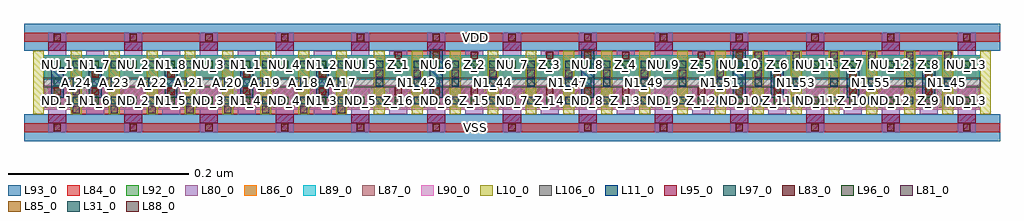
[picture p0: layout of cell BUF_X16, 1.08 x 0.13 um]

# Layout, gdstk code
import gdstk
lib = gdstk.Library(unit=1e-6, precision=1e-09)
def R(c, l, rs):  # rectangles x0, y0, x1, y1
    for r in rs: c.add(gdstk.rectangle(r[:2], r[2:], *l))
def A(c, l, x, y, w, h, nx, ny, dx, dy):  # array of equal rectangles
    R(c, l, [(x+i*dx, y+j*dy, x+i*dx+w, y+j*dy+h) for i in range(nx) for j in range(ny)])
L10_0 = (10, 0)
L11_0 = (11, 0)
L31_0 = (31, 0)
L80_0 = (80, 0)
L81_0 = (81, 0)
L83_0 = (83, 0)
L84_0 = (84, 0)
L85_0 = (85, 0)
L86_0 = (86, 0)
L87_0 = (87, 0)
L88_0 = (88, 0)
L89_0 = (89, 0)
L90_0 = (90, 0)
L92_0 = (92, 0)
L93_0 = (93, 0)
L95_0 = (95, 0)
L96_0 = (96, 0)
L97_0 = (97, 0)
L106_0 = (106, 0)

buf_x16 = lib.new_cell('BUF_X16')
A(buf_x16, L10_0, -0.027, 0.015, 0.012, 0.07, 26, 1, 0.042, 0)
A(buf_x16, L11_0, 0.035, 0.033, 0.014, 0.034, 4, 1, 0.084, 0)
A(buf_x16, L11_0, 0.413, 0.033, 0.014, 0.034, 3, 2, 0.168, 0.02)
A(buf_x16, L11_0, 0.791, 0.033, 0.014, 0.034, 3, 1, 0.084, 0)
R(buf_x16, L11_0, [(-0.007,0.033,0.007,0.067)])
A(buf_x16, L31_0, 0.038, 0.046, 0.008, 0.008, 4, 1, 0.084, 0)
A(buf_x16, L31_0, 0.416, 0.046, 0.008, 0.008, 3, 1, 0.168, 0)
A(buf_x16, L31_0, 0.794, 0.046, 0.008, 0.008, 3, 1, 0.084, 0)
R(buf_x16, L31_0, [(-0.004,0.046,0.004,0.054)])
A(buf_x16, L80_0, -0.01, -0.005, 0.02, 0.03, 13, 2, 0.084, 0.08)
A(buf_x16, L80_0, -0.01, 0.015, 0.02, 0.03, 25, 2, 0.042, 0.04)
A(buf_x16, L81_0, 0.017, 0.016, 0.008, 0.008, 8, 1, 0.042, 0)
A(buf_x16, L81_0, 0.353, 0.056, 0.008, 0.008, 11, 1, 0.042, 0)
R(buf_x16, L81_0, [(0.017,0.036,0.025,0.044), (0.773,0.076,0.781,0.084), (0.773,0.076,0.781,0.084), (0.773,0.076,0.781,0.084), (0.815,0.076,0.823,0.084), (0.815,0.076,0.823,0.084), (0.815,0.076,0.823,0.084), (0.857,0.076,0.865,0.084), (0.857,0.076,0.865,0.084), (0.857,0.076,0.865,0.084), (0.899,0.076,0.907,0.084), (0.899,0.076,0.907,0.084), (0.899,0.076,0.907,0.084), (0.941,0.076,0.949,0.084), (0.941,0.076,0.949,0.084), (0.983,0.076,0.991,0.084)])
A(buf_x16, L83_0, -0.004, -0.004, 0.008, 0.008, 13, 2, 0.084, 0.1)
A(buf_x16, L83_0, 0.038, 0.036, 0.008, 0.008, 12, 1, 0.084, 0)
A(buf_x16, L83_0, 0.038, 0.056, 0.008, 0.008, 4, 1, 0.084, 0)
A(buf_x16, L83_0, 0.794, 0.056, 0.008, 0.008, 3, 1, 0.084, 0)
R(buf_x16, L83_0, [(0.374,0.076,0.382,0.084), (0.374,0.076,0.382,0.084), (0.374,0.076,0.382,0.084), (0.458,0.076,0.466,0.084), (0.458,0.076,0.466,0.084), (0.458,0.076,0.466,0.084), (0.542,0.076,0.55,0.084), (0.542,0.076,0.55,0.084), (0.542,0.076,0.55,0.084), (0.626,0.076,0.634,0.084), (0.626,0.076,0.634,0.084), (0.626,0.076,0.634,0.084), (0.71,0.076,0.718,0.084), (0.71,0.076,0.718,0.084), (0.71,0.076,0.718,0.084)])
A(buf_x16, L84_0, 0.016, 0.015, 0.031, 0.01, 14, 1, 0.021, 0)
A(buf_x16, L84_0, 0.205, 0.035, 0.031, 0.01, 4, 1, 0.021, 0)
A(buf_x16, L84_0, 0.373, 0.035, 0.031, 0.01, 12, 1, 0.021, 0)
A(buf_x16, L84_0, 0.709, 0.035, 0.031, 0.01, 4, 1, 0.021, 0)
A(buf_x16, L84_0, 0.877, 0.035, 0.031, 0.01, 4, 1, 0.021, 0)
A(buf_x16, L84_0, 0.121, 0.055, 0.031, 0.01, 4, 1, 0.021, 0)
A(buf_x16, L84_0, 0.289, 0.055, 0.031, 0.01, 23, 1, 0.021, 0)
A(buf_x16, L84_0, 0.793, 0.055, 0.031, 0.01, 4, 1, 0.021, 0)
A(buf_x16, L84_0, 0.373, 0.075, 0.031, 0.01, 4, 1, 0.021, 0)
A(buf_x16, L84_0, 0.541, 0.075, 0.031, 0.01, 10, 1, 0.021, 0)
A(buf_x16, L84_0, 0.772, 0.075, 0.031, 0.01, 10, 1, 0.021, 0)
R(buf_x16, L84_0, [(-0.037,-0.005,1.045,0.005), (-0.009,0.035,0.027,0.045), (0.037,0.035,0.132,0.045), (0.121,0.035,0.131,0.045), (0.037,0.055,0.047,0.065), (0.961,0.055,0.971,0.065), (-0.037,0.095,1.045,0.105)])
A(buf_x16, L85_0, 0.038, 0.036, 0.008, 0.008, 4, 2, 0.084, 0.02)
A(buf_x16, L85_0, 0.416, 0.036, 0.008, 0.008, 3, 2, 0.168, 0.04)
A(buf_x16, L85_0, 0.794, 0.036, 0.008, 0.008, 3, 2, 0.084, 0.02)
R(buf_x16, L85_0, [(-0.004,0.036,0.004,0.044)])
R(buf_x16, L86_0, [(-0.015,0.053,1.023,0.08)])
R(buf_x16, L87_0, [(-0.015,0.02,1.023,0.047)])
R(buf_x16, L88_0, [(0.459,-0.004,0.467,0.004), (0.459,0.096,0.467,0.104)])
R(buf_x16, L89_0, [(-0.015,0.053,1.023,0.08)])
R(buf_x16, L90_0, [(-0.015,0.02,1.023,0.047)])
R(buf_x16, L92_0, [(-0.014,0.022,1.022,0.045), (-0.014,0.055,1.022,0.078)])
R(buf_x16, L93_0, [(-0.037,-0.015,1.045,0.015), (-0.037,0.085,1.045,0.115)])
A(buf_x16, L95_0, -0.01, 0.005, 0.02, 0.01, 13, 1, 0.084, 0)
A(buf_x16, L95_0, -0.01, 0.085, 0.02, 0.01, 6, 1, 0.084, 0)
A(buf_x16, L95_0, 0.41, 0.085, 0.02, 0.01, 8, 1, 0.084, 0)
A(buf_x16, L96_0, -0.004, 0.026, 0.008, 0.008, 25, 2, 0.042, 0.04)
A(buf_x16, L97_0, 0.017, 0.026, 0.008, 0.008, 24, 3, 0.042, 0.02)
R(buf_x16, L106_0, [(-0.015,0.045,1.023,0.055)])
buf_x16.add(gdstk.Label('N1_1', (0.21,0.07), layer=96, texttype=0))
buf_x16.add(gdstk.Label('NU_4', (0.252,0.07), layer=96, texttype=0))
buf_x16.add(gdstk.Label('N1_2', (0.294,0.07), layer=96, texttype=0))
buf_x16.add(gdstk.Label('NU_5', (0.336,0.07), layer=96, texttype=0))
buf_x16.add(gdstk.Label('Z_1', (0.378,0.07), layer=96, texttype=0))
buf_x16.add(gdstk.Label('NU_6', (0.42,0.07), layer=96, texttype=0))
buf_x16.add(gdstk.Label('Z_2', (0.462,0.07), layer=96, texttype=0))
buf_x16.add(gdstk.Label('NU_7', (0.504,0.07), layer=96, texttype=0))
buf_x16.add(gdstk.Label('Z_3', (0.546,0.07), layer=96, texttype=0))
buf_x16.add(gdstk.Label('NU_8', (0.588,0.07), layer=96, texttype=0))
buf_x16.add(gdstk.Label('Z_4', (0.63,0.07), layer=96, texttype=0))
buf_x16.add(gdstk.Label('NU_9', (0.672,0.07), layer=96, texttype=0))
buf_x16.add(gdstk.Label('Z_5', (0.714,0.07), layer=96, texttype=0))
buf_x16.add(gdstk.Label('NU_10', (0.756,0.07), layer=96, texttype=0))
buf_x16.add(gdstk.Label('Z_6', (0.798,0.07), layer=96, texttype=0))
buf_x16.add(gdstk.Label('NU_11', (0.84,0.07), layer=96, texttype=0))
buf_x16.add(gdstk.Label('Z_7', (0.882,0.07), layer=96, texttype=0))
buf_x16.add(gdstk.Label('NU_12', (0.924,0.07), layer=96, texttype=0))
buf_x16.add(gdstk.Label('Z_8', (0.966,0.07), layer=96, texttype=0))
buf_x16.add(gdstk.Label('NU_13', (1.008,0.07), layer=96, texttype=0))
buf_x16.add(gdstk.Label('ND_13', (1.008,0.03), layer=96, texttype=0))
buf_x16.add(gdstk.Label('Z_9', (0.966,0.03), layer=96, texttype=0))
buf_x16.add(gdstk.Label('ND_12', (0.924,0.03), layer=96, texttype=0))
buf_x16.add(gdstk.Label('Z_10', (0.882,0.03), layer=96, texttype=0))
buf_x16.add(gdstk.Label('ND_11', (0.84,0.03), layer=96, texttype=0))
buf_x16.add(gdstk.Label('Z_11', (0.798,0.03), layer=96, texttype=0))
buf_x16.add(gdstk.Label('ND_10', (0.756,0.03), layer=96, texttype=0))
buf_x16.add(gdstk.Label('Z_12', (0.714,0.03), layer=96, texttype=0))
buf_x16.add(gdstk.Label('ND_9', (0.672,0.03), layer=96, texttype=0))
buf_x16.add(gdstk.Label('Z_13', (0.63,0.03), layer=96, texttype=0))
buf_x16.add(gdstk.Label('ND_8', (0.588,0.03), layer=96, texttype=0))
buf_x16.add(gdstk.Label('Z_14', (0.546,0.03), layer=96, texttype=0))
buf_x16.add(gdstk.Label('ND_7', (0.504,0.03), layer=96, texttype=0))
buf_x16.add(gdstk.Label('Z_15', (0.462,0.03), layer=96, texttype=0))
buf_x16.add(gdstk.Label('ND_6', (0.42,0.03), layer=96, texttype=0))
buf_x16.add(gdstk.Label('Z_16', (0.378,0.03), layer=96, texttype=0))
buf_x16.add(gdstk.Label('ND_5', (0.336,0.03), layer=96, texttype=0))
buf_x16.add(gdstk.Label('N1_3', (0.294,0.03), layer=96, texttype=0))
buf_x16.add(gdstk.Label('ND_4', (0.252,0.03), layer=96, texttype=0))
buf_x16.add(gdstk.Label('NU_1', (0,0.07), layer=96, texttype=0))
buf_x16.add(gdstk.Label('N1_7', (0.042,0.07), layer=96, texttype=0))
buf_x16.add(gdstk.Label('ND_1', (0,0.03), layer=96, texttype=0))
buf_x16.add(gdstk.Label('N1_6', (0.042,0.03), layer=96, texttype=0))
buf_x16.add(gdstk.Label('NU_2', (0.084,0.07), layer=96, texttype=0))
buf_x16.add(gdstk.Label('ND_2', (0.084,0.03), layer=96, texttype=0))
buf_x16.add(gdstk.Label('N1_5', (0.126,0.03), layer=96, texttype=0))
buf_x16.add(gdstk.Label('N1_8', (0.126,0.07), layer=96, texttype=0))
buf_x16.add(gdstk.Label('N1_4', (0.21,0.03), layer=96, texttype=0))
buf_x16.add(gdstk.Label('NU_3', (0.168,0.07), layer=96, texttype=0))
buf_x16.add(gdstk.Label('ND_3', (0.168,0.03), layer=96, texttype=0))
buf_x16.add(gdstk.Label('N1_33', (0.987,0.03), layer=97, texttype=0))
buf_x16.add(gdstk.Label('N1_34', (0.945,0.03), layer=97, texttype=0))
buf_x16.add(gdstk.Label('N1_35', (0.903,0.03), layer=97, texttype=0))
buf_x16.add(gdstk.Label('N1_36', (0.861,0.03), layer=97, texttype=0))
buf_x16.add(gdstk.Label('N1_37', (0.819,0.03), layer=97, texttype=0))
buf_x16.add(gdstk.Label('N1_38', (0.777,0.03), layer=97, texttype=0))
buf_x16.add(gdstk.Label('N1_39', (0.735,0.03), layer=97, texttype=0))
buf_x16.add(gdstk.Label('N1_40', (0.693,0.03), layer=97, texttype=0))
buf_x16.add(gdstk.Label('N1_9', (0.651,0.03), layer=97, texttype=0))
buf_x16.add(gdstk.Label('N1_10', (0.609,0.03), layer=97, texttype=0))
buf_x16.add(gdstk.Label('N1_11', (0.567,0.03), layer=97, texttype=0))
buf_x16.add(gdstk.Label('N1_12', (0.525,0.03), layer=97, texttype=0))
buf_x16.add(gdstk.Label('N1_13', (0.483,0.03), layer=97, texttype=0))
buf_x16.add(gdstk.Label('N1_14', (0.441,0.03), layer=97, texttype=0))
buf_x16.add(gdstk.Label('N1_15', (0.399,0.03), layer=97, texttype=0))
buf_x16.add(gdstk.Label('N1_16', (0.357,0.03), layer=97, texttype=0))
buf_x16.add(gdstk.Label('A_1', (0.315,0.03), layer=97, texttype=0))
buf_x16.add(gdstk.Label('A_2', (0.273,0.03), layer=97, texttype=0))
buf_x16.add(gdstk.Label('A_3', (0.231,0.03), layer=97, texttype=0))
buf_x16.add(gdstk.Label('A_4', (0.189,0.03), layer=97, texttype=0))
buf_x16.add(gdstk.Label('A_5', (0.147,0.03), layer=97, texttype=0))
buf_x16.add(gdstk.Label('A_6', (0.105,0.03), layer=97, texttype=0))
buf_x16.add(gdstk.Label('A_7', (0.063,0.03), layer=97, texttype=0))
buf_x16.add(gdstk.Label('A_8', (0.021,0.03), layer=97, texttype=0))
buf_x16.add(gdstk.Label('N1_45', (0.987,0.05), layer=97, texttype=0))
buf_x16.add(gdstk.Label('N1_17', (0.987,0.07), layer=97, texttype=0))
buf_x16.add(gdstk.Label('N1_56', (0.945,0.05), layer=97, texttype=0))
buf_x16.add(gdstk.Label('N1_18', (0.945,0.07), layer=97, texttype=0))
buf_x16.add(gdstk.Label('N1_55', (0.903,0.05), layer=97, texttype=0))
buf_x16.add(gdstk.Label('N1_19', (0.903,0.07), layer=97, texttype=0))
buf_x16.add(gdstk.Label('N1_54', (0.861,0.05), layer=97, texttype=0))
buf_x16.add(gdstk.Label('N1_20', (0.861,0.07), layer=97, texttype=0))
buf_x16.add(gdstk.Label('N1_53', (0.819,0.05), layer=97, texttype=0))
buf_x16.add(gdstk.Label('N1_21', (0.819,0.07), layer=97, texttype=0))
buf_x16.add(gdstk.Label('N1_52', (0.777,0.05), layer=97, texttype=0))
buf_x16.add(gdstk.Label('N1_22', (0.777,0.07), layer=97, texttype=0))
buf_x16.add(gdstk.Label('N1_51', (0.735,0.05), layer=97, texttype=0))
buf_x16.add(gdstk.Label('N1_23', (0.735,0.07), layer=97, texttype=0))
buf_x16.add(gdstk.Label('N1_50', (0.693,0.05), layer=97, texttype=0))
buf_x16.add(gdstk.Label('N1_24', (0.693,0.07), layer=97, texttype=0))
buf_x16.add(gdstk.Label('N1_49', (0.651,0.05), layer=97, texttype=0))
buf_x16.add(gdstk.Label('N1_25', (0.651,0.07), layer=97, texttype=0))
buf_x16.add(gdstk.Label('N1_48', (0.609,0.05), layer=97, texttype=0))
buf_x16.add(gdstk.Label('N1_26', (0.609,0.07), layer=97, texttype=0))
buf_x16.add(gdstk.Label('N1_47', (0.567,0.05), layer=97, texttype=0))
buf_x16.add(gdstk.Label('N1_27', (0.567,0.07), layer=97, texttype=0))
buf_x16.add(gdstk.Label('N1_46', (0.525,0.05), layer=97, texttype=0))
buf_x16.add(gdstk.Label('N1_28', (0.525,0.07), layer=97, texttype=0))
buf_x16.add(gdstk.Label('N1_44', (0.483,0.05), layer=97, texttype=0))
buf_x16.add(gdstk.Label('N1_29', (0.483,0.07), layer=97, texttype=0))
buf_x16.add(gdstk.Label('N1_43', (0.441,0.05), layer=97, texttype=0))
buf_x16.add(gdstk.Label('N1_30', (0.441,0.07), layer=97, texttype=0))
buf_x16.add(gdstk.Label('N1_42', (0.399,0.05), layer=97, texttype=0))
buf_x16.add(gdstk.Label('N1_31', (0.399,0.07), layer=97, texttype=0))
buf_x16.add(gdstk.Label('N1_41', (0.357,0.05), layer=97, texttype=0))
buf_x16.add(gdstk.Label('N1_32', (0.357,0.07), layer=97, texttype=0))
buf_x16.add(gdstk.Label('A_17', (0.315,0.05), layer=97, texttype=0))
buf_x16.add(gdstk.Label('A_9', (0.315,0.07), layer=97, texttype=0))
buf_x16.add(gdstk.Label('A_18', (0.273,0.05), layer=97, texttype=0))
buf_x16.add(gdstk.Label('A_10', (0.273,0.07), layer=97, texttype=0))
buf_x16.add(gdstk.Label('A_19', (0.231,0.05), layer=97, texttype=0))
buf_x16.add(gdstk.Label('A_11', (0.231,0.07), layer=97, texttype=0))
buf_x16.add(gdstk.Label('A_20', (0.189,0.05), layer=97, texttype=0))
buf_x16.add(gdstk.Label('A_12', (0.189,0.07), layer=97, texttype=0))
buf_x16.add(gdstk.Label('A_21', (0.147,0.05), layer=97, texttype=0))
buf_x16.add(gdstk.Label('A_13', (0.147,0.07), layer=97, texttype=0))
buf_x16.add(gdstk.Label('A_22', (0.105,0.05), layer=97, texttype=0))
buf_x16.add(gdstk.Label('A_14', (0.105,0.07), layer=97, texttype=0))
buf_x16.add(gdstk.Label('A_15', (0.063,0.07), layer=97, texttype=0))
buf_x16.add(gdstk.Label('A_23', (0.063,0.05), layer=97, texttype=0))
buf_x16.add(gdstk.Label('A_24', (0.021,0.05), layer=97, texttype=0))
buf_x16.add(gdstk.Label('A_16', (0.021,0.07), layer=97, texttype=0))
buf_x16.add(gdstk.Label('A', (0,0.05), layer=31, texttype=0))
buf_x16.add(gdstk.Label('Z', (0.966,0.05), layer=31, texttype=0))
buf_x16.add(gdstk.Label('Z', (0.882,0.05), layer=31, texttype=0))
buf_x16.add(gdstk.Label('Z', (0.798,0.05), layer=31, texttype=0))
buf_x16.add(gdstk.Label('Z', (0.756,0.05), layer=31, texttype=0))
buf_x16.add(gdstk.Label('Z', (0.588,0.05), layer=31, texttype=0))
buf_x16.add(gdstk.Label('Z', (0.42,0.05), layer=31, texttype=0))
buf_x16.add(gdstk.Label('N1', (0.294,0.05), layer=31, texttype=0))
buf_x16.add(gdstk.Label('N1', (0.21,0.05), layer=31, texttype=0))
buf_x16.add(gdstk.Label('N1', (0.126,0.05), layer=31, texttype=0))
buf_x16.add(gdstk.Label('N1', (0.042,0.05), layer=31, texttype=0))
buf_x16.add(gdstk.Label('VDD', (0.463,0.1), layer=88, texttype=0))
buf_x16.add(gdstk.Label('VSS', (0.463,0), layer=88, texttype=0))

lib.write_gds('BUF_X16.gds')
